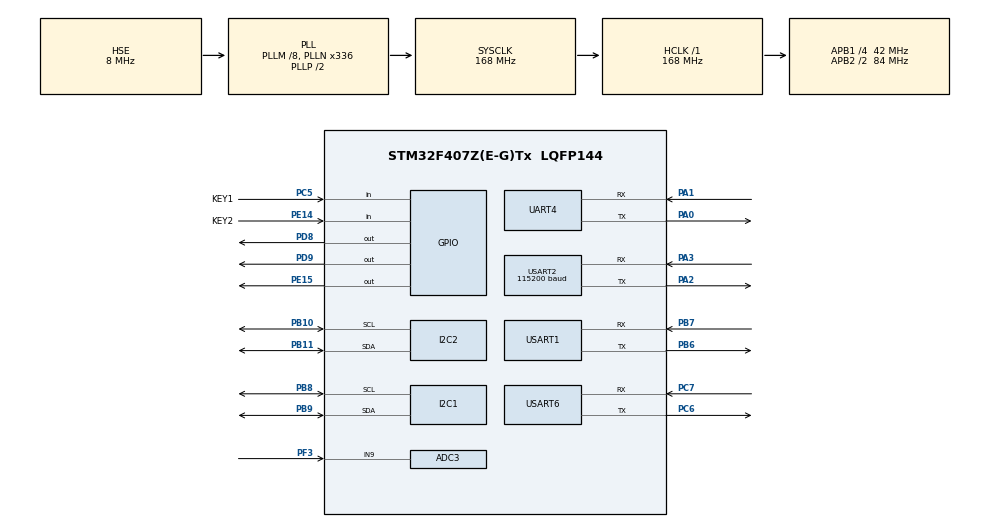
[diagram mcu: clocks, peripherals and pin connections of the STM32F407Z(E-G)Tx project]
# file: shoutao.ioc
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ADC3.Channel-0\#ChannelRegularConversion=ADC_CHANNEL_9
ADC3.NbrOfConversionFlag=1
ADC3.Rank-0\#ChannelRegularConversion=1
ADC3.SamplingTime-0\#ChannelRegularConversion=ADC_SAMPLETIME_3CYCLES
Dma.Request0=USART6_TX
Dma.Request1=USART6_RX
Dma.USART6_RX.1.Direction=DMA_PERIPH_TO_MEMORY
Dma.USART6_RX.1.FIFOMode=DMA_FIFOMODE_DISABLE
Dma.USART6_RX.1.Instance=DMA2_Stream1
Dma.USART6_RX.1.MemDataAlignment=DMA_MDATAALIGN_BYTE
Dma.USART6_RX.1.MemInc=DMA_MINC_ENABLE
Dma.USART6_RX.1.Mode=DMA_NORMAL
Dma.USART6_RX.1.PeriphDataAlignment=DMA_PDATAALIGN_BYTE
Dma.USART6_RX.1.PeriphInc=DMA_PINC_DISABLE
Dma.USART6_RX.1.Priority=DMA_PRIORITY_LOW
Dma.USART6_TX.0.Direction=DMA_MEMORY_TO_PERIPH
Dma.USART6_TX.0.FIFOMode=DMA_FIFOMODE_DISABLE
Dma.USART6_TX.0.Instance=DMA2_Stream6
Dma.USART6_TX.0.MemDataAlignment=DMA_MDATAALIGN_BYTE
Dma.USART6_TX.0.MemInc=DMA_MINC_ENABLE
Dma.USART6_TX.0.Mode=DMA_NORMAL
Dma.USART6_TX.0.PeriphDataAlignment=DMA_PDATAALIGN_BYTE
Dma.USART6_TX.0.PeriphInc=DMA_PINC_DISABLE
Dma.USART6_TX.0.Priority=DMA_PRIORITY_LOW
Mcu.Family=STM32F4
Mcu.Name=STM32F407Z(E-G)Tx
Mcu.Package=LQFP144
NVIC.DMA2_Stream1_IRQn=true\:0\:0\:false\:false\:true\:false\:true\:true
NVIC.DMA2_Stream6_IRQn=true\:0\:0\:false\:false\:true\:false\:true\:true
NVIC.PriorityGroup=NVIC_PRIORITYGROUP_4
NVIC.TIM6_DAC_IRQn=true\:0\:0\:false\:false\:true\:true\:true\:true
NVIC.USART2_IRQn=true\:3\:0\:true\:false\:true\:true\:true\:true
NVIC.USART6_IRQn=true\:1\:0\:true\:false\:true\:true\:true\:true
PA0-WKUP.Mode=Asynchronous
PA0-WKUP.Signal=UART4_TX
PA1.Mode=Asynchronous
PA1.Signal=UART4_RX
PA13.Mode=Serial_Wire
PA13.Signal=SYS_JTMS-SWDIO
PA14.Mode=Serial_Wire
PA14.Signal=SYS_JTCK-SWCLK
PA2.Mode=Asynchronous
PA2.Signal=USART2_TX
PA3.Mode=Asynchronous
PA3.Signal=USART2_RX
PA8.Signal=I2C3_SCL
PB10.Mode=I2C
PB10.Signal=I2C2_SCL
PB11.Mode=I2C
PB11.Signal=I2C2_SDA
PB6.Mode=Asynchronous
PB6.Signal=USART1_TX
PB7.Mode=Asynchronous
PB7.Signal=USART1_RX
PB8.Mode=I2C
PB8.Signal=I2C1_SCL
PB9.Mode=I2C
PB9.Signal=I2C1_SDA
PC14-OSC32_IN.Mode=LSE-External-Oscillator
PC14-OSC32_IN.Signal=RCC_OSC32_IN
PC15-OSC32_OUT.Mode=LSE-External-Oscillator
PC15-OSC32_OUT.Signal=RCC_OSC32_OUT
PC5.GPIO_Label=KEY1
PC5.GPIO_PuPd=GPIO_PULLUP
PC5.Signal=GPIO_Input
PC6.Mode=Asynchronous
PC6.Signal=USART6_TX
PC7.Mode=Asynchronous
PC7.Signal=USART6_RX
PC9.Signal=I2C3_SDA
PD8.Signal=GPIO_Output
PD9.Signal=GPIO_Output
PE14.GPIO_Label=KEY2
PE14.GPIO_PuPd=GPIO_PULLUP
PE14.Signal=GPIO_Input
PE15.GPIO_PuPd=GPIO_NOPULL
PE15.Signal=GPIO_Output
PF3.Mode=IN9
PF3.Signal=ADC3_IN9
PH0-OSC_IN.Mode=HSE-External-Oscillator
PH0-OSC_IN.Signal=RCC_OSC_IN
PH1-OSC_OUT.Mode=HSE-External-Oscillator
PH1-OSC_OUT.Signal=RCC_OSC_OUT
ProjectManager.HeapSize=0x200
ProjectManager.StackSize=0x400
ProjectManager.TargetToolchain=MDK-ARM V5.32
RCC.48MHZClocksFreq_Value=84000000
RCC.AHBFreq_Value=168000000
RCC.APB1CLKDivider=RCC_HCLK_DIV4
RCC.APB1Freq_Value=42000000
RCC.APB1TimFreq_Value=84000000
RCC.APB2CLKDivider=RCC_HCLK_DIV2
RCC.APB2Freq_Value=84000000
RCC.APB2TimFreq_Value=168000000
RCC.CortexFreq_Value=168000000
RCC.HCLKFreq_Value=168000000
RCC.HSE_VALUE=8000000
RCC.HSI_VALUE=16000000
RCC.PLLM=8
RCC.PLLN=336
RCC.PLLSourceVirtual=RCC_PLLSOURCE_HSE
RCC.SYSCLKFreq_VALUE=168000000
RCC.SYSCLKSource=RCC_SYSCLKSOURCE_PLLCLK
RCC.VCOOutputFreq_Value=336000000
TIM6.Period=999
TIM6.Prescaler=83
UART4.VirtualMode=Asynchronous
USART1.VirtualMode=VM_ASYNC
USART2.BaudRate=115200
USART2.VirtualMode=VM_ASYNC
USART6.VirtualMode=VM_ASYNC
VP_TIM6_VS_ClockSourceINT.Mode=Enable_Timer
board=custom

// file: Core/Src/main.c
/* USER CODE BEGIN Header */
/**
  ******************************************************************************
  * @file           : main.c
  * @brief          : Main program body
  ******************************************************************************
  * @attention
  *
  * Copyright (c) 2025 STMicroelectronics.
  * All rights reserved.
  *
  * This software is licensed under terms that can be found in the LICENSE file
  * in the root directory of this software component.
  * If no LICENSE file comes with this software, it is provided AS-IS.
  *
  ******************************************************************************
  */
/* USER CODE END Header */
#include "main.h"
#include "adc.h"
#include "dma.h"
#include "i2c.h"
#include "tim.h"
#include "usart.h"
#include "gpio.h"

/* USER CODE BEGIN Includes */
#include "headfile.h"
/* USER CODE END Includes */

/* USER CODE BEGIN PV */
const uint8_t poll_channels[] = {0, 1, 2, 3, 4};  // 要轮询的通道
#define CHANNEL_COUNT (sizeof(poll_channels) / sizeof(poll_channels[0]))  // 通道数量（4个）
int change_flag = 0;
uint8_t channel_cnt = 0;
int cnt1 = 0, cnt2 = 0;
uint8_t mode_zhang = 0;
int forward = 0, back = 0;

int allow_send_flag = 0;
/* USER CODE END PV */

void SystemClock_Config(void);

int main(void)
{

  /* MCU Configuration--------------------------------------------------------*/

  /* Reset of all peripherals, Initializes the Flash interface and the Systick. */
  HAL_Init();

  /* Configure the system clock */
  SystemClock_Config();

  /* Initialize all configured peripherals */
  MX_GPIO_Init();
  MX_DMA_Init();
  MX_ADC3_Init();
  MX_I2C1_Init();
  MX_UART4_Init();
  MX_USART1_UART_Init();
  MX_USART2_UART_Init();
  MX_USART6_UART_Init();
  MX_TIM6_Init();
  MX_I2C2_Init();
  /* USER CODE BEGIN 2 */
	HAL_TIM_Base_Start_IT(&htim6);									//定时器初始化
	HAL_UART_Receive_IT(&huart6, &uart6_data,1);		//调试串口初始化
	HAL_UART_Receive_IT(&huart2, &uart2_data,1);		//陀螺仪串口初始化
	JY901S_Init();
	MPU6050_Init(&hi2c2);
	TCA9548A_init();
	TCA9548A_SetChannel(0);				//设置初始通道

  for (uint8_t i = 0; i < CHANNEL_COUNT; i++)//初始化所有通道的 MPU6050
  {
    TCA9548A_SetChannel(poll_channels[i]); // 切换到当前通道
    HAL_Delay(10);                         // 等待通道切换稳定
    MPU6050_Init(&hi2c2);                  // 初始化当前通道的 MPU6050
    HAL_Delay(100);                        // 给传感器初始化留时间
  }
  /* USER CODE END 2 */

  /* Infinite loop */
  /* USER CODE BEGIN WHILE */
  static uint32_t debug_print_cnt = 0;  // 调试打印计数器，控制打印频率
  channel_cnt = 0;
  while (1)
  {
		key_read();
		if(channel_cnt > 4)			//通道计数器若超出范围，则需要清零
		{
			channel_cnt = 0;
		}
		MPU6050_PollChannels(poll_channels, CHANNEL_COUNT, 500 ,channel_cnt);
		Gesture_Control_pro();
		Gesture_Move();

		// 调试打印：每隔100次循环打印一次MPU6050四个手指和手背的角度
    //增加了拇指角度的打印
		if (++debug_print_cnt >= 1)
		{
			debug_print_cnt = 0;
			printf("%.2f°,%.2f°,%.2f°,%.2f°,%.2f°,%.2f°\r\n",
			mpu_data[4].filter_angle_x,mpu_data[3].filter_angle_x,mpu_data[2].filter_angle_x,mpu_data[1].filter_angle_x,mpu_data[0].filter_angle_x, jy901s_data.angle_roll);

		}
//		if(trans_flag == 1 && allow_send_flag ==1 )
//		{
//			switch (current_cmd)
//        {
//						case CMD_NONE:    																				        																break;
//            case CMD_UP:        HAL_UART_Transmit(&huart6, &current_cmd, sizeof(current_cmd), 0xffff);        break;
//            case CMD_DOWN:      HAL_UART_Transmit(&huart6, &current_cmd, sizeof(current_cmd), 0xffff);        break;
//            case CMD_LEFT:      HAL_UART_Transmit(&huart6, &current_cmd, sizeof(current_cmd), 0xffff);       	break;
//            case CMD_RIGHT:     HAL_UART_Transmit(&huart6, &current_cmd, sizeof(current_cmd), 0xffff);        break;
//            case CMD_LEFTUP:    HAL_UART_Transmit(&huart6, &current_cmd, sizeof(current_cmd), 0xffff);      	break;
//            case CMD_RIGHTUP:  	HAL_UART_Transmit(&huart6, &current_cmd, sizeof(current_cmd), 0xffff);      	break;
//            case CMD_LEFTDOWN: 	HAL_UART_Transmit(&huart6, &current_cmd, sizeof(current_cmd), 0xffff);      	break;
//            case CMD_RIGHTDOWN:	HAL_UART_Transmit(&huart6, &current_cmd, sizeof(current_cmd), 0xffff);    		break;
//        }
//			trans_flag = 0;
//		}
		// 通道计数器递增，自动循环
		channel_cnt++;
    /* USER CODE END WHILE */

  }
}

void SystemClock_Config(void)
{
  RCC_OscInitTypeDef RCC_OscInitStruct = {0};
  RCC_ClkInitTypeDef RCC_ClkInitStruct = {0};

  /** Configure the main internal regulator output voltage
  */
  __HAL_RCC_PWR_CLK_ENABLE();
  __HAL_PWR_VOLTAGESCALING_CONFIG(PWR_REGULATOR_VOLTAGE_SCALE1);

  /** Initializes the RCC Oscillators according to the specified parameters
  * in the RCC_OscInitTypeDef structure.
  */
  RCC_OscInitStruct.OscillatorType = RCC_OSCILLATORTYPE_HSE;
  RCC_OscInitStruct.HSEState = RCC_HSE_ON;
  RCC_OscInitStruct.PLL.PLLState = RCC_PLL_ON;
  RCC_OscInitStruct.PLL.PLLSource = RCC_PLLSOURCE_HSE;
  RCC_OscInitStruct.PLL.PLLM = 8;
  RCC_OscInitStruct.PLL.PLLN = 336;
  RCC_OscInitStruct.PLL.PLLP = RCC_PLLP_DIV2;
  RCC_OscInitStruct.PLL.PLLQ = 4;
  if (HAL_RCC_OscConfig(&RCC_OscInitStruct) != HAL_OK)
  {
    Error_Handler();
  }

  /** Initializes the CPU, AHB and APB buses clocks
  */
  RCC_ClkInitStruct.ClockType = RCC_CLOCKTYPE_HCLK|RCC_CLOCKTYPE_SYSCLK
                              |RCC_CLOCKTYPE_PCLK1|RCC_CLOCKTYPE_PCLK2;
  RCC_ClkInitStruct.SYSCLKSource = RCC_SYSCLKSOURCE_PLLCLK;
  RCC_ClkInitStruct.AHBCLKDivider = RCC_SYSCLK_DIV1;
  RCC_ClkInitStruct.APB1CLKDivider = RCC_HCLK_DIV4;
  RCC_ClkInitStruct.APB2CLKDivider = RCC_HCLK_DIV2;

  if (HAL_RCC_ClockConfig(&RCC_ClkInitStruct, FLASH_LATENCY_5) != HAL_OK)
  {
    Error_Handler();
  }
}

void Error_Handler(void)
{
  __disable_irq();
  while (1)
  {
  }
}
